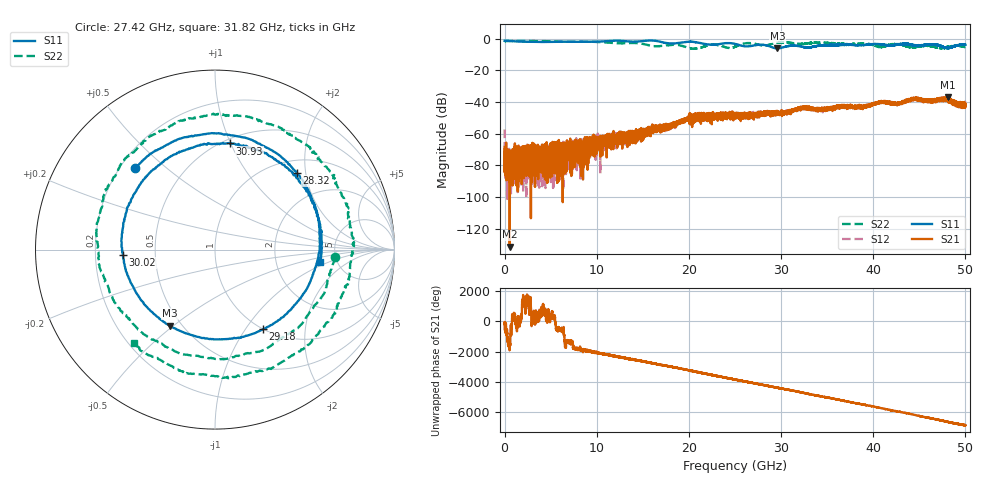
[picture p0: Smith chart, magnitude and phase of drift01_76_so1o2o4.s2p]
!Created with skrf (http://scikit-rf.org).
# Hz S RI R 50.0
!freq ReS11 ImS11 ReS21 ImS21 ReS12 ImS12 ReS22 ImS22
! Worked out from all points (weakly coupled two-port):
!   10001 points, 300 kHz to 50 GHz, reference 50 ohm
!   highest |S21| = -36.82 dB at 48.07 GHz (marker M1); lowest = -131.4 dB at 560.3 MHz (marker M2)
!   lowest |S11| = -6.2 dB at 29.61 GHz (marker M3), VSWR 2.94, Z = 21.7 - j24.2 ohm
!   |S11| at or under -10 dB: nowhere
!   |S22| runs from -6.4 to -1.4 dB; largest |S21 - S12| = 0.0042
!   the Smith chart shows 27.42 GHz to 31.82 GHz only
!   S11 on the Smith chart (normalised r, x): 27.42 GHz: 0.26, +0.40; 28.32 GHz: 1.27, +1.78; 29.18 GHz: 0.99, -1.21; 30.02 GHz: 0.32, -0.03; 30.93 GHz: 0.54, +0.99; 31.82 GHz: 3.73, -0.77
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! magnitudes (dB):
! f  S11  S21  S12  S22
! 300 kHz  -1.3  -68.4  -57.3  -2.1
! 255.3 MHz  -1.4  -77.8  -74.5  -1.4
! 560.3 MHz  -1.4  -131.4  -86.7  -1.4
! 5.505 GHz  -2.0  -68.8  -76.4  -1.7
! 8.335 GHz  -2.0  -66.7  -67.1  -1.8
! 16.67 GHz  -1.6  -56.2  -55.6  -4.8
! 20.71 GHz  -2.2  -48.8  -49.2  -6.3
! 22.62 GHz  -3.8  -49.9  -48.6  -3.8
! 25 GHz  -3.3  -49.5  -48.5  -5.0
! 27.42 GHz  -4.0  -48.2  -48.3  -3.5
! 28.32 GHz  -4.1  -47.8  -47.9  -4.4
! 29.18 GHz  -5.7  -48.6  -47.4  -3.0
! 29.61 GHz  -6.2  -46.6  -47.3  -2.6
! 30.02 GHz  -5.8  -46.0  -46.8  -2.3
! 30.93 GHz  -4.5  -46.6  -46.3  -2.5
! 31.82 GHz  -4.6  -45.1  -43.7  -3.2
! 33.34 GHz  -5.2  -44.4  -44.0  -2.7
! 41.67 GHz  -4.3  -40.5  -40.3  -4.2
! 44.5 GHz  -4.3  -37.8  -37.7  -5.2
! 46.52 GHz  -3.8  -38.5  -39.8  -4.8
! 48.07 GHz  -5.9  -36.8  -39.2  -5.4
! 50 GHz  -3.9  -41.1  -41.2  -5.2
